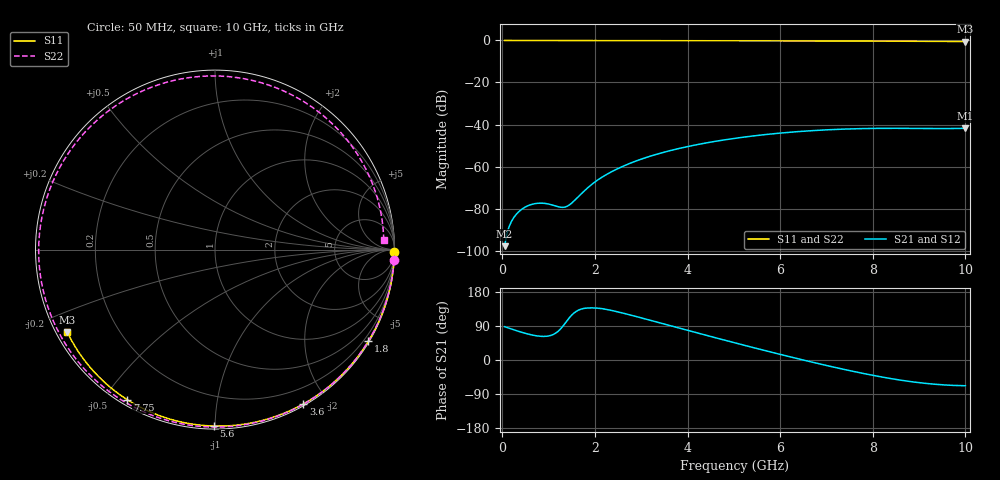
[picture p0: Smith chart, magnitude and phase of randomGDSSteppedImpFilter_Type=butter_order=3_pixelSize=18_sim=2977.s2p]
! freq	dB(S11)	phase(S11)	dB(S12)	phase(S12)
!  dB(S21)	phase(S21)	dB(S22)	phase(S22)
!S-par simulation data
#  GHz  S  DB  R 50
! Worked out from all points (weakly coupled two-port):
!   200 points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, 50 MHz to 10 GHz, reference 50 ohm
!   highest |S21| = -41.78 dB at 10 GHz (marker M1); lowest = -97.9 dB at 50 MHz (marker M2)
!   lowest |S11| = -0.5 dB at 10 GHz (marker M3), VSWR 33.88, Z = 1.58 - j13 ohm
!   |S11| at or under -10 dB: nowhere
!   |S22| runs from -0.5 to 0.0 dB; largest |S21 - S12| = 0
!   S11 on the Smith chart (normalised r, x): 50 MHz: open; 1.8 GHz: 0.03, -3.62; 3.6 GHz: 0.02, -1.73; 5.6 GHz: 0.02, -0.99; 7.75 GHz: 0.02, -0.57; 10 GHz: 0.03, -0.26
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0.05  -0.00 -0.9  -97.86 87.9  -97.86 87.9  -0.00 -3.5
0.45  -0.01 -7.8  -79.84 72.0  -79.84 72.0  -0.04 -30.4
0.65  -0.01 -11.3  -77.90 65.8  -77.90 65.8  -0.06 -43.3
0.9  -0.02 -15.6  -77.47 62.3  -77.47 62.3  -0.07 -58.7
1.35  -0.03 -23.3  -79.28 95.8  -79.28 95.8  -0.09 -83.8
1.5  -0.03 -25.8  -77.35 118.5  -77.35 118.5  -0.10 -91.4
1.75  -0.04 -30.0  -72.00 135.8  -72.00 135.8  -0.10 -103.4
1.8  -0.04 -30.9  -70.98 136.8  -70.98 136.8  -0.11 -105.6
2.1  -0.05 -35.9  -65.78 136.3  -65.78 136.3  -0.11 -118.6
2.45  -0.05 -41.7  -61.44 128.3  -61.44 128.3  -0.12 -132.3
2.9  -0.06 -49.0  -57.24 114.5  -57.24 114.5  -0.13 -148.1
3.4  -0.08 -57.0  -53.72 98.1  -53.72 98.1  -0.14 -164.0
3.6  -0.08 -60.2  -52.54 91.5  -52.54 91.5  -0.14 -170.0
4.3  -0.10 -71.0  -49.16 68.5  -49.16 68.5  -0.16 170.3
5.05  -0.13 -82.3  -46.47 44.4  -46.47 44.4  -0.19 150.3
5.6  -0.15 -90.3  -44.96 27.1  -44.96 27.1  -0.21 135.9
6.7  -0.20 -105.9  -42.89 -5.9  -42.89 -5.9  -0.26 106.6
7.25  -0.24 -113.4  -42.28 -21.4  -42.28 -21.4  -0.28 91.3
7.75  -0.28 -120.2  -41.94 -34.4  -41.94 -34.4  -0.31 76.8
8.35  -0.33 -128.4  -41.79 -48.2  -41.79 -48.2  -0.34 58.6
9.25  -0.42 -140.5  -41.90 -63.0  -41.90 -63.0  -0.42 29.4
10  -0.51 -150.9  -41.78 -67.8  -41.78 -67.8  -0.52 3.2
